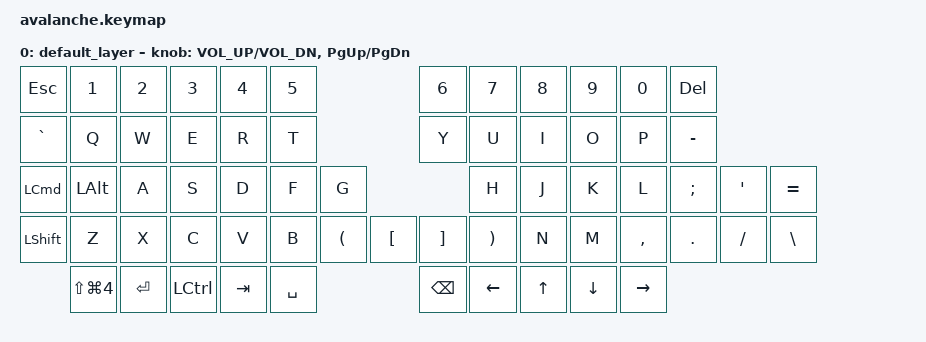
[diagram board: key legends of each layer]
#include <behaviors.dtsi>
#include <dt-bindings/zmk/keys.h>

/ {
    behaviors {
        tdlayer: tdlayer {
            compatible = "zmk,behavior-hold-tap";
            #binding-cells = <2>;
            label = "tdlayer";
            bindings = <&mo>, <&kp>;

            tapping-term-ms = <125>;
        };
    };

    keymap {
        compatible = "zmk,keymap";

        /*
        &none  &none  &none  &none  &none  &none                                   &none  &none  &none  &none  &none  &none 
// ------------------------------------------------------------------------------------------------------------------------------------------------------------------------------------
        &none  &none  &none  &none  &none  &none                                   &none  &none  &none  &none  &none  &none 
// ------------------------------------------------------------------------------------------------------------------------------------------------------------------------------------
&none  &none  &none  &none  &none  &none  &none                                   &none  &none  &none  &none  &none  &none  &none 
// ------------------------------------------------------------------------------------------------------------------------------------------------------------------------------------
        &none  &none  &none  &none  &none  &none  &none  &none    &none &none  &none  &none  &none  &none  &none  &none 
// ------------------------------------------------------------------------------------------------------------------------------------------------------------------------------------
                                &none  &none  &none  &none  &none    &none &none  &none  &none  &none
*/

        default_layer {
            bindings = <
&kp ESC           &kp N1                &kp N2     &kp N3            &kp N4   &kp N5                                             &kp N6         &kp N7                 &kp N8        &kp N9          &kp N0           &kp DELETE
&kp GRAVE         &kp Q                 &kp W      &kp E             &kp R    &kp T                                              &kp Y          &kp U                  &kp I         &kp O           &kp P            &kp MINUS
&kp LEFT_COMMAND  &kp LEFT_ALT          &kp A      &kp S             &kp D    &kp F      &kp G                                                  &kp H                  &kp J         &kp K           &kp L            &kp SEMI    &kp SQT   &kp EQUAL
&kp LSHIFT        &kp Z                 &kp X      &kp C             &kp V    &kp B      &kp LEFT_PARENTHESIS  &kp LEFT_BRACKET  &kp RBKT       &kp RIGHT_PARENTHESIS  &kp N         &kp M           &kp COMMA        &kp DOT     &kp FSLH  &kp BACKSLASH
                  &kp LS(LG(NUMBER_4))  &kp ENTER  &kp LEFT_CONTROL  &kp TAB  &kp SPACE                                          &kp BACKSPACE  &kp LEFT_ARROW         &kp UP_ARROW  &kp DOWN_ARROW  &kp RIGHT_ARROW
            >;

            sensor-bindings = <&inc_dec_kp C_VOL_UP C_VOL_DN &inc_dec_kp PG_UP PG_DN>;
        };
    };
};
